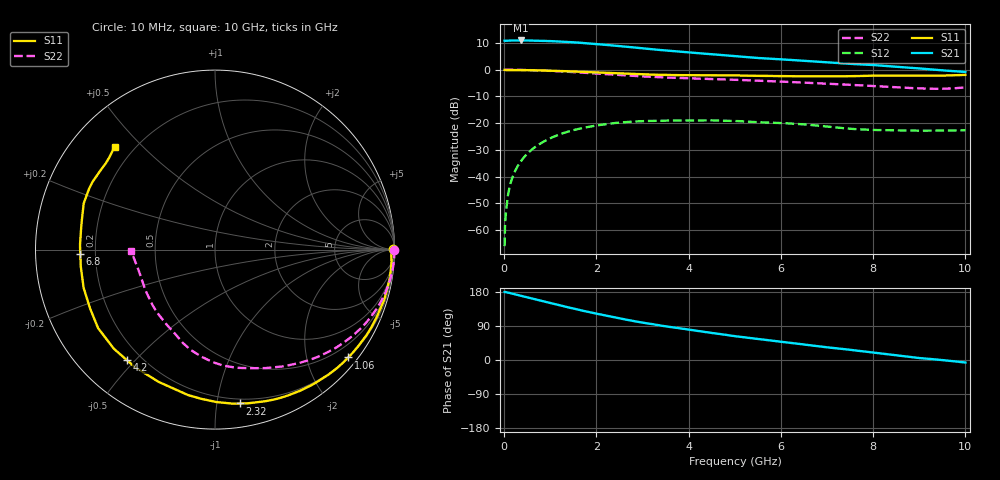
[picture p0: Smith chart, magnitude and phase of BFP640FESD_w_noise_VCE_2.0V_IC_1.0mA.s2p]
! Infineon Technologies  Discrete & RF Semiconductors
! BFP640FESD
! VCE =  2.0 V,  IC =  1.0 mA
! Common Emitter S-Parameters:  Jan 2016
# GHz  S  MA  R  50
!  f  S11  S21  S12  S22
! GHz  MAG  ANG  MAG  ANG  MAG  ANG  MAG  ANG
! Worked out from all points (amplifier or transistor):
!   233 points, 10 MHz to 10 GHz, reference 50 ohm
!   highest |S21| = 11.0 dB at 360 MHz (marker M1)
!   |S21| within 3 dB of that: start of sweep to 3.041 GHz
!   unconditionally stable (mu >= 1): 6.888 GHz to end of sweep
!   at 200 MHz: K = -0.01, MSG = 25.2 dB, |S12| = -39.4 dB
!   at 1.74 GHz: K = 0.10, MSG = 15.8 dB, |S12| = -21.6 dB
!   at 10 GHz: K = 1.86, MAG = 5.6 dB, |S12| = -22.7 dB
!   lowest NFmin = 0.44 dB at 450 MHz
!   S11 on the Smith chart (normalised r, x): 10 MHz: open; 1.06 GHz: 0.21, -2.81; 2.32 GHz: 0.17, -1.16; 4.2 GHz: 0.15, -0.47; 6.8 GHz: 0.14, -0.01; 10 GHz: 0.13, +0.42
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0.01  0.992 0.2  3.494 179.5  0.0005 92.5  0.9986 0.0
0.015  0.9907 -0.3  3.483 179.6  0.0009 90.3  0.9991 -0.3
0.02  0.9894 -0.8  3.473 179.7  0.0013 89.5  0.9997 -0.5
0.035  0.986 -1.3  3.477 179.1  0.002 89.5  0.9996 -0.8
0.06  0.9833 -2.2  3.487 178.3  0.0032 89.0  0.9995 -1.3
0.105  0.9862 -3.8  3.51 177.3  0.0057 87.8  0.9993 -2.3
0.22  0.9861 -8.1  3.523 173.8  0.0118 85.2  0.9974 -4.8
0.36  0.9838 -13.3  3.531 169.7  0.0193 81.8  0.9934 -7.9
0.7  0.9736 -25.9  3.506 159.5  0.0373 73.7  0.9758 -15.3
1.06  0.9551 -39.0  3.416 148.8  0.0551 65.0  0.9473 -23.0
1.4  0.9331 -51.3  3.298 138.6  0.0702 56.8  0.9141 -30.2
1.68  0.9138 -60.8  3.18 130.7  0.0807 50.3  0.8842 -35.9
1.9  0.899 -68.0  3.07 124.9  0.0879 45.7  0.8605 -40.3
2.32  0.8683 -80.9  2.862 114.2  0.0987 37.1  0.816 -48.1
2.86  0.831 -96.8  2.589 101.6  0.1078 27.0  0.7625 -57.8
3.4  0.8027 -110.5  2.334 90.9  0.1115 18.6  0.7231 -65.6
4.2  0.7874 -128.7  2.042 76.8  0.1129 9.1  0.6827 -75.3
5.1  0.7802 -147.8  1.77 61.5  0.1092 -0.5  0.6443 -86.7
6  0.7624 -163.8  1.567 48.2  0.101 -7.2  0.6009 -97.3
6.8  0.7509 -178.3  1.416 36.5  0.09 -11.2  0.5598 -106.7
8.4  0.7794 154.0  1.158 13.8  0.0738 -4.0  0.4758 -133.0
10  0.801 134.2  0.909 -6.7  0.0736 6.5  0.4672 -178.9
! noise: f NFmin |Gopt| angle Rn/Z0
0.45  0.44  0.85  9  0.44
2.4  1.03  0.61  61  0.35
5.5  1.58  0.64  145  0.12
10  3.33  0.68  -128  0.52
